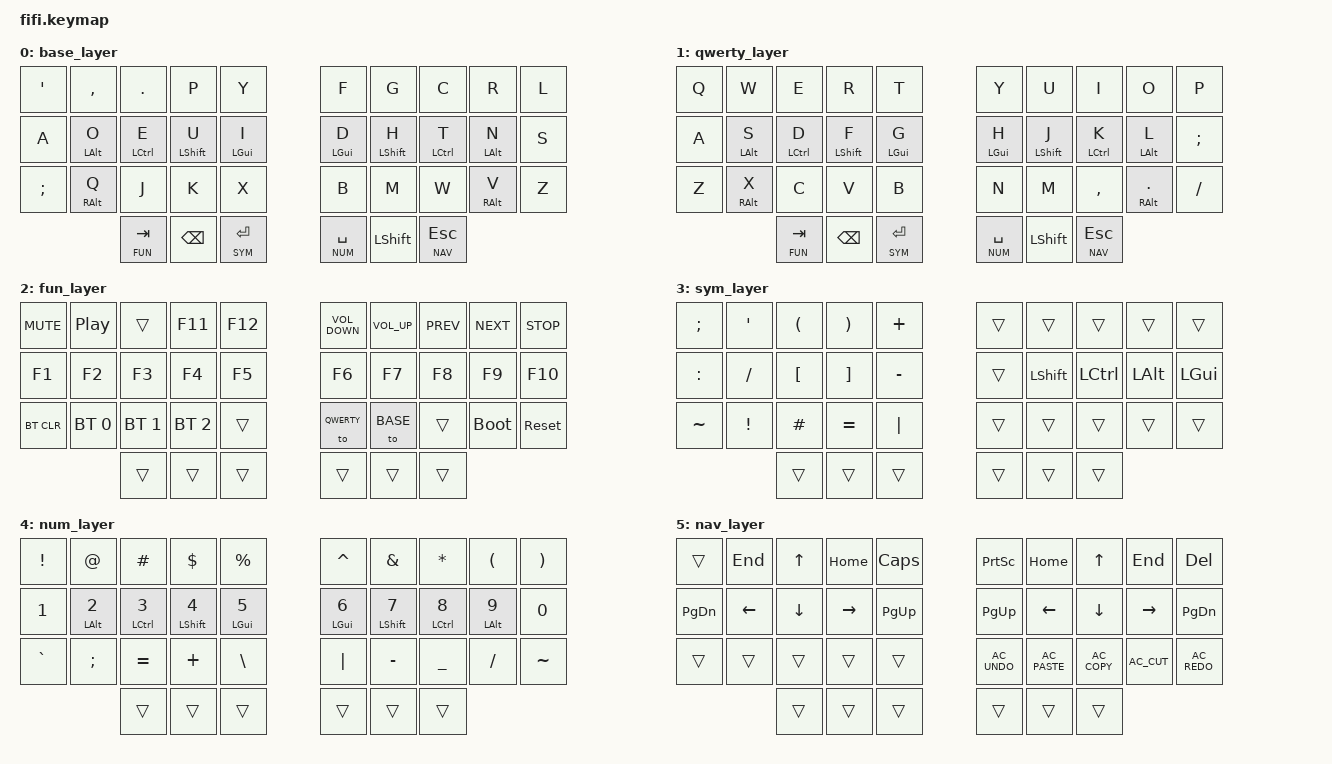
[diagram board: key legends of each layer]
/*
 * Copyright (c) 2020 The ZMK Contributors
 *
 * SPDX-License-Identifier: MIT
 */

#include <behaviors.dtsi>
#include <dt-bindings/zmk/keys.h>
#include <dt-bindings/zmk/bt.h>
#include <dt-bindings/zmk/outputs.h>

#define BASE    0
#define QWERTY  1
#define FUN     2
#define SYM     3
#define NUM     4
#define NAV     5


/ {
	behaviors {
		hm: homerow_mods {
			compatible = "zmk,behavior-hold-tap";
			label = "homerow mods";
			#binding-cells = <2>;
			tapping_term_ms = <300>;
			flavor = "tap-preferred";
			bindings = <&kp>, <&kp>;
		};
	};

    keymap {
        compatible = "zmk,keymap";

        base_layer {
            bindings = <
   &kp SQT      &kp COMMA       &kp DOT         &kp P         &kp Y             &kp F       &kp G       &kp C       &kp R         &kp L
   &kp A        &hm LALT O      &hm LCTRL E     &hm LSHFT U   &hm LGUI I        &hm LGUI D  &hm LSHFT H &hm LCTRL T &hm LALT N    &kp S
   &kp SEMI     &hm RALT Q      &kp J           &kp K         &kp X             &kp B       &kp M       &kp W       &hm RALT V    &kp Z
                          &lt FUN TAB &kp BSPC &lt SYM RET   &lt NUM SPACE &kp LSHIFT &lt NAV ESC
            >;
        };

        qwerty_layer {
            bindings = <
   &kp Q   &kp W  &kp E     &kp R     &kp T             &kp Y      &kp U        &kp I        &kp O        &kp P
   &kp A   &hm LALT S   &hm LCTRL D     &hm LSHFT F     &hm LGUI G             &hm LGUI H      &hm LSHFT J        &hm LCTRL K        &hm LALT L        &kp SEMI
   &kp Z   &hm RALT X  &kp C     &kp V     &kp B             &kp N      &kp M        &kp COMMA        &hm RALT DOT        &kp FSLH
                           &lt FUN TAB &kp BSPC &lt SYM RET   &lt NUM SPACE &kp LSHIFT &lt NAV ESC
            >;
        };

        fun_layer {
            bindings = <
   &kp C_MUTE &kp C_PP      &trans &kp F11      &kp F12                 &kp C_VOLUME_DOWN       &kp C_VOLUME_UP     &kp C_PREV      &kp C_NEXT    &kp C_STOP       
   &kp F1     &kp F2        &kp F3              &kp F4 &kp F5           &kp F6     &kp F7       &kp F8              &kp F9          &kp F10
   &bt BT_CLR &bt BT_SEL 0  &bt BT_SEL 1        &bt BT_SEL 2 &trans     &to QWERTY             &to BASE           &trans          &bootloader  &sys_reset
                            &trans     &trans       &trans       &trans     &trans       &trans
            >;
        };

        sym_layer {
            bindings = <
   &kp SEMI  &kp SQT  &kp LPAR  &kp RPAR  &kp PLUS    &trans     &trans       &trans       &trans       &trans
   &kp COLON &kp FSLH &kp LBKT  &kp RBKT  &kp MINUS   &trans     &kp LSHFT    &kp LCTRL    &kp LALT     &kp LGUI
   &kp TILDE &kp EXCL &kp HASH  &kp EQUAL &kp PIPE    &trans     &trans       &trans       &trans       &trans
                      &trans    &trans    &trans      &trans     &trans       &trans
            >;
        };

        num_layer {
            bindings = <
   &kp EXCL  &kp AT &kp POUND  &kp DLLR &kp PRCNT    &kp CARET &kp AMPS &kp ASTRK &kp LPAR &kp RPAR
   &kp N1  &hm LALT N2 &hm LCTRL N3  &hm LSHFT N4 &hm LGUI N5   &hm LGUI N6     &hm LSHFT N7    &hm LCTRL N8   &hm LALT N9    &kp N0
   &kp GRAVE &kp SEMI &kp EQUAL  &kp PLUS &kp BSLH    &kp PIPE     &kp MINUS       &kp UNDER       &kp FSLH       &kp TILDE
                    &trans     &trans       &trans       &trans     &trans       &trans
            >;
        };

        nav_layer {
            bindings = <
   &trans       &kp END &kp UP &kp HOME  &kp CAPS     &kp PSCRN    &kp HOME     &kp UP      &kp END    &kp DEL 
   &kp PG_DN    &kp LEFT    &kp DOWN     &kp RIGHT    &kp PG_UP    &kp PG_UP    &kp LEFT    &kp DOWN   &kp RIGHT    &kp PG_DN
   &trans       &trans       &trans       &trans       &trans       &kp C_AC_UNDO    &kp C_AC_PASTE    &kp C_AC_COPY  &kp C_AC_CUT &kp C_AC_REDO
                            &trans       &trans       &trans       &trans    &trans    &trans
            >;
        };
    };
};
